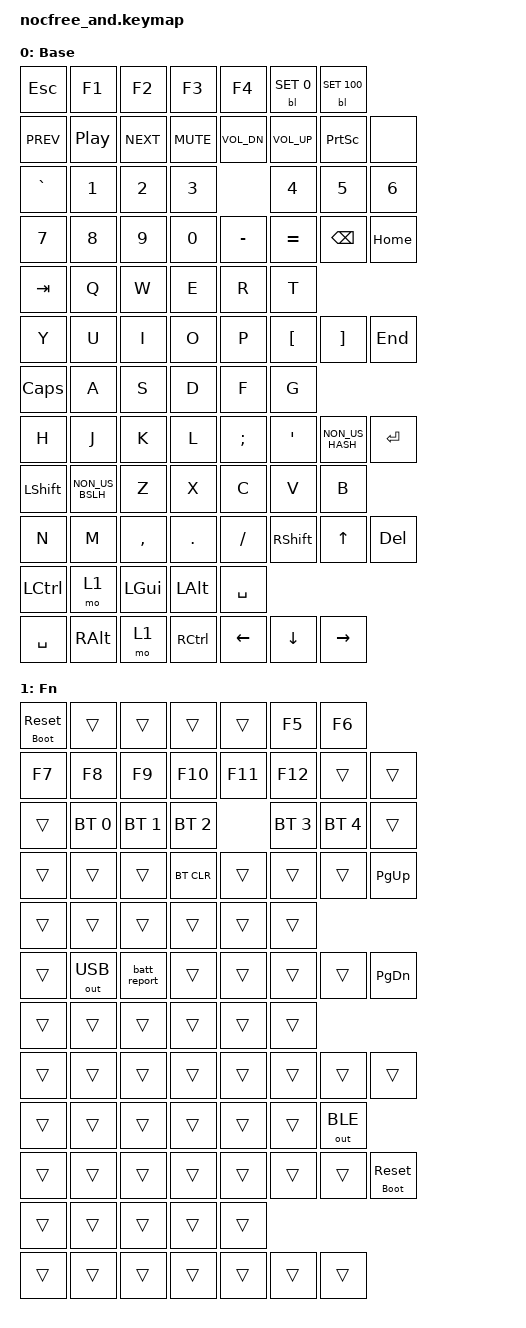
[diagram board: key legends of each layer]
/*
 * Copyright (c) 2026 The NocFree ZMK Contributors
 *
 * SPDX-License-Identifier: MIT
 */

#include <behaviors.dtsi>
#include <dt-bindings/zmk/backlight.h>
#include <dt-bindings/zmk/bt.h>
#include <dt-bindings/zmk/keys.h>
#include <dt-bindings/zmk/outputs.h>

/*
 * ISO map, for a host set to a German (or any other) national ISO layout.
 *
 * HID keycodes are positional: the host's layout decides which character a
 * position produces. So this is *not* a German keymap -- it is the standard
 * positional map plus the two codes ANSI does not have, and a host set to
 * German turns it into a German keyboard. Set the layout in the operating
 * system, not here.
 *
 *   NON_US_BSLH  the key between LSHFT and Z   -> DE  < > |
 *   NON_US_HASH  the key left of the ISO Enter -> DE  # '
 *
 * Bindings are listed in visual reading order. Each line pair is one physical
 * row: the left half first, then the right half.
 *
 * The bottom row is the owner's own arrangement, carried over from what they
 * had configured in NocFree Link: Control outermost on the left with Fn beside
 * it, and AltGr immediately right of the space bar with Control outboard of Fn.
 * It deliberately differs from the factory map (which reads Fn / Control /
 * Option / Command from the outside in).
 *
 * Backlight brightness is set to absolute levels, never stepped. ZMK relays the
 * backlight behaviour to the peripheral (BEHAVIOR_LOCALITY_GLOBAL) but never
 * synchronises the resulting state: each half keeps its own brightness in its
 * own NVS, so BL_INC/BL_DEC add a relative step to whatever that half happens
 * to hold, and one relay lost to a split-link hiccup leaves a permanent offset
 * that survives reboots. BL_SET lands both halves on the same number.
 */

/ {
    /*
     * Recovery key. Tap resets the half; hold for 1.5 s drops it into its
     * preserved UF2 bootloader. ZMK reset behaviours act on the half whose
     * key triggered them, so this behaviour is placed once on each half:
     * Fn+Esc on the left, Fn+Delete on the right.
     *
     * A hold-tap always passes two parameters to its bound behaviours.
     * &bootloader and &sys_reset take none, so every use passes two zeroes.
     *
     * tap-preferred: a quick tap is a reset even if the key is still held
     * when the next one arrives. Only a deliberate 1.5 s hold reaches the
     * bootloader.
     */
    behaviors {
        /*
         * Types the battery percentage out as "bat NN". The factory firmware
         * did this on Fn+i and this keeps that muscle memory.
         *
         * It has to be a behaviour rather than a macro: macros send a fixed
         * sequence, and the percentage is a runtime value. Output is digits,
         * letters and space only -- those sit in the same places on ANSI and
         * German ISO, punctuation does not. See docs/battery.md.
         */
        batt_report: battery_report {
            compatible = "nocfree,behavior-battery-report";
            #binding-cells = <0>;
            display-name = "Battery";
        };

        boot_reset: bootloader_or_reset {
            compatible = "zmk,behavior-hold-tap";
            #binding-cells = <2>;
            bindings = <&bootloader>, <&sys_reset>;
            tapping-term-ms = <1500>;
            flavor = "tap-preferred";
        };
    };

    keymap {
        compatible = "zmk,keymap";

        default_layer {
            display-name = "Base";
            bindings = <
                &kp ESC   &kp F1    &kp F2    &kp F3    &kp F4    &bl BL_SET 0 &bl BL_SET 100
                &kp C_PREV &kp C_PP &kp C_NEXT &kp C_MUTE &kp C_VOL_DN &kp C_VOL_UP &kp PSCRN &none

                &kp GRAVE &kp N1    &kp N2    &kp N3    &kp N4    &kp N5    &kp N6
                &kp N7    &kp N8    &kp N9    &kp N0    &kp MINUS &kp EQUAL &kp BSPC  &kp HOME

                &kp TAB   &kp Q     &kp W     &kp E     &kp R     &kp T
                &kp Y     &kp U     &kp I     &kp O     &kp P     &kp LBKT  &kp RBKT  &kp END

                &kp CAPS  &kp A     &kp S     &kp D     &kp F     &kp G
                &kp H     &kp J     &kp K     &kp L     &kp SEMI  &kp SQT   &kp NON_US_HASH &kp RET

                &kp LSHFT &kp NON_US_BSLH &kp Z &kp X   &kp C     &kp V     &kp B
                &kp N     &kp M     &kp COMMA &kp DOT   &kp FSLH  &kp RSHFT &kp UP    &kp DEL

                &kp LCTRL &mo 1     &kp LGUI  &kp LALT  &kp SPACE
                &kp SPACE &kp RALT  &mo 1     &kp RCTRL &kp LEFT  &kp DOWN  &kp RIGHT
            >;
        };

        /*
         * Function layer.
         *
         *   Fn+1..Fn+5   select Bluetooth profile 0..4
         *   Fn+0         clear the selected Bluetooth profile
         *   Fn+U         send HID over USB
         *   Fn+i         type the battery level as "bat NN"
         *   Fn+B         send HID over Bluetooth
         *   Fn+F5..F12   the real F5..F12 (the base layer carries the
         *                owner's media and backlight functions there instead)
         *   Fn+Home      Page Up      Fn+End      Page Down
         *   Fn+F10/11/12 mute, volume down, volume up
         *   Fn+Esc       tap: reset the left half   hold 1.5 s: its bootloader
         *   Fn+Delete    tap: reset the right half  hold 1.5 s: its bootloader
         *
         * ZMK reset behaviours act on the half whose key triggered them: Esc
         * is a left-half key and Delete a right-half one. On ISO, Delete sits
         * at the end of the shift row rather than the home row. Fn+Delete
         * needs the split link up to reach the right half. Either half can
         * always be recovered over its USB CDC interface instead; see
         * docs/recovery.md.
         */
        function_layer {
            display-name = "Fn";
            bindings = <
                &boot_reset 0 0 &trans &trans     &trans     &trans     &kp F5     &kp F6
                &kp F7     &kp F8     &kp F9     &kp F10    &kp F11    &kp F12    &trans     &trans

                &trans     &bt BT_SEL 0 &bt BT_SEL 1 &bt BT_SEL 2 &bt BT_SEL 3 &bt BT_SEL 4 &trans
                &trans     &trans     &trans     &bt BT_CLR &trans     &trans     &trans     &kp PG_UP

                &trans     &trans     &trans     &trans     &trans     &trans
                &trans     &out OUT_USB &batt_report &trans   &trans     &trans     &trans     &kp PG_DN

                &trans     &trans     &trans     &trans     &trans     &trans
                &trans     &trans     &trans     &trans     &trans     &trans     &trans     &trans

                &trans     &trans     &trans     &trans     &trans     &trans     &out OUT_BLE
                &trans     &trans     &trans     &trans     &trans     &trans     &trans  &boot_reset 0 0

                &trans     &trans     &trans     &trans     &trans
                &trans     &trans     &trans     &trans     &trans     &trans     &trans
            >;
        };
    };
};
